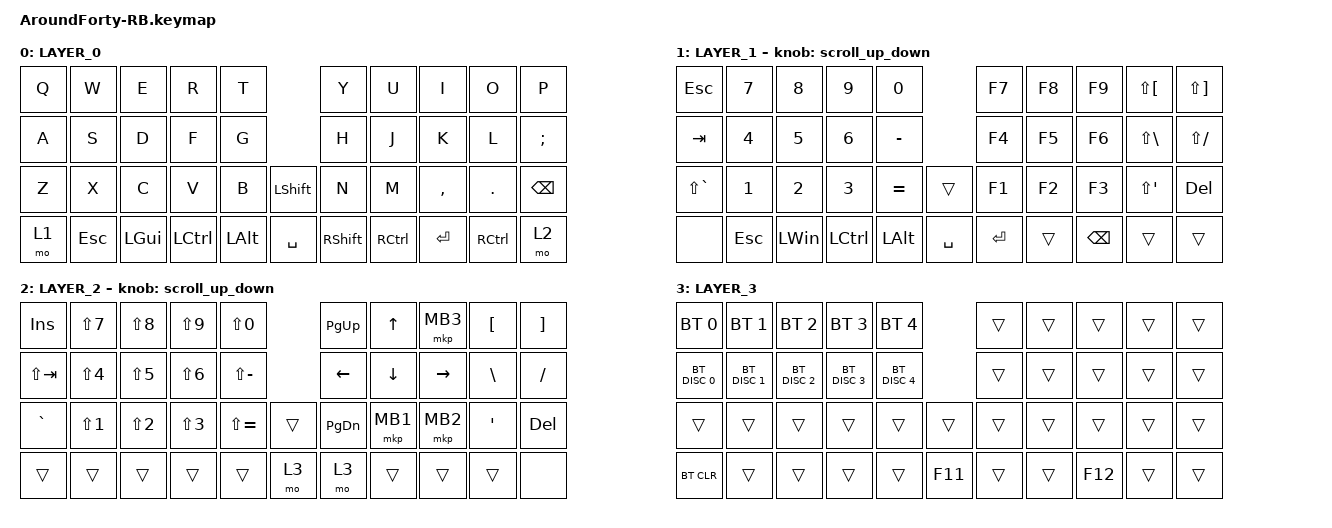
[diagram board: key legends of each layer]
#define ZMK_POINTING_DEFAULT_SCRL_VAL 100
#define MOUSE 4

#include <behaviors/rgbled_widget.dtsi>  // needed to use the behaviors
#include <behaviors.dtsi>
#include <dt-bindings/zmk/bt.h>
#include <dt-bindings/zmk/keys.h>
#include <dt-bindings/zmk/pointing.h>

/ {
    combos { compatible = "zmk,combos"; };

    behaviors {
        scroll_up_down: behavior_sensor_rotate_mouse_wheel_up_down {
            compatible = "zmk,behavior-sensor-rotate";
            #sensor-binding-cells = <0>;
            bindings = <&msc SCRL_UP>, <&msc SCRL_DOWN>;

            tap-ms = <20>;
        };
    };

    keymap {
        compatible = "zmk,keymap";

        LAYER_0 {
            bindings = <
&kp Q  &kp W    &kp E         &kp R      &kp T                     &kp Y      &kp U      &kp I      &kp O       &kp P
&kp A  &kp S    &kp D         &kp F      &kp G                     &kp H      &kp J      &kp K      &kp L       &kp SEMICOLON
&kp Z  &kp X    &kp C         &kp V      &kp B     &kp LEFT_SHIFT  &kp N      &kp M      &kp COMMA  &kp PERIOD  &kp BACKSPACE
&mo 1  &kp ESC  &kp LEFT_GUI  &kp LCTRL  &kp LALT  &kp SPACE       &kp RSHFT  &kp RCTRL  &kp ENTER  &kp RCTRL   &mo 2
            >;
        };

        LAYER_1 {
            bindings = <
&kp ESC        &kp NUMBER_7  &kp NUMBER_8  &kp NUMBER_9  &kp NUMBER_0             &kp F7     &kp F8  &kp F9         &kp LS(LEFT_BRACKET)  &kp LS(RIGHT_BRACKET)
&kp TAB        &kp NUMBER_4  &kp N5        &kp NUMBER_6  &kp MINUS                &kp F4     &kp F5  &kp F6         &kp LS(BACKSLASH)     &kp LS(SLASH)
&kp LS(GRAVE)  &kp NUMBER_1  &kp NUMBER_2  &kp NUMBER_3  &kp EQUAL     &trans     &kp F1     &kp F2  &kp F3         &kp LS(SINGLE_QUOTE)  &kp DEL
&none          &kp ESC       &kp LEFT_WIN  &kp LCTRL     &kp LALT      &kp SPACE  &kp ENTER  &trans  &kp BACKSPACE  &trans                &trans
            >;

            sensor-bindings = <&scroll_up_down>;
        };

        LAYER_2 {
            bindings = <
&kp INS      &kp LS(NUMBER_7)  &kp LS(NUMBER_8)  &kp LS(NUMBER_9)  &kp LS(NUMBER_0)          &kp PAGE_UP     &kp UP_ARROW    &mkp MB3         &kp LEFT_BRACKET  &kp RIGHT_BRACKET
&kp LS(TAB)  &kp LS(NUMBER_4)  &kp LS(NUMBER_5)  &kp LS(NUMBER_6)  &kp LS(MINUS)             &kp LEFT_ARROW  &kp DOWN_ARROW  &kp RIGHT_ARROW  &kp BACKSLASH     &kp SLASH
&kp GRAVE    &kp LS(NUMBER_1)  &kp LS(NUMBER_2)  &kp LS(NUMBER_3)  &kp LS(EQUAL)     &trans  &kp PAGE_DOWN   &mkp MB1        &mkp MB2         &kp SINGLE_QUOTE  &kp DEL
&trans       &trans            &trans            &trans            &trans            &mo 3   &mo 3           &trans          &trans           &trans            &none
            >;

            sensor-bindings = <&scroll_up_down>;
        };

        LAYER_3 {
            bindings = <
&bt BT_SEL 0   &bt BT_SEL 1   &bt BT_SEL 2   &bt BT_SEL 3   &bt BT_SEL 4            &trans  &trans  &trans   &trans  &trans
&bt BT_DISC 0  &bt BT_DISC 1  &bt BT_DISC 2  &bt BT_DISC 3  &bt BT_DISC 4           &trans  &trans  &trans   &trans  &trans
&trans         &trans         &trans         &trans         &trans         &trans   &trans  &trans  &trans   &trans  &trans
&bt BT_CLR     &trans         &trans         &trans         &trans         &kp F11  &trans  &trans  &kp F12  &trans  &trans
            >;
        };
    };
};
